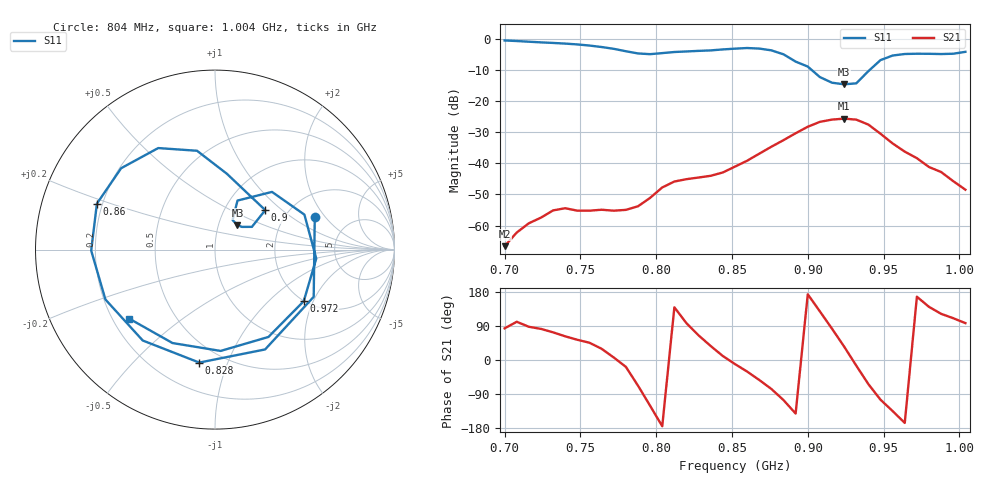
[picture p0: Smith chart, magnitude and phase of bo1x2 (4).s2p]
# Hz S RI R 50
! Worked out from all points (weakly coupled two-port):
!   39 points, 700 MHz to 1.004 GHz, reference 50 ohm
!   highest |S21| = -25.67 dB at 924 MHz (marker M1); lowest = -66.6 dB at 700 MHz (marker M2)
!   lowest |S11| = -14.7 dB at 924 MHz (marker M3), VSWR 1.45, Z = 61.6 + j17.4 ohm
!   |S11| at or under -10 dB: 902.4 MHz to 941 MHz (38.55 MHz wide, 4.18 % of centre)
!   S12 and S22 are empty: the file has one direction only
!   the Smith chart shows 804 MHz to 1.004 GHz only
!   S11 on the Smith chart (normalised r, x): 804 MHz: 2.85, +1.59; 828 MHz: 0.38, -0.80; 860 MHz: 0.18, +0.18; 900 MHz: 1.54, +0.78; 972 MHz: 1.99, -1.70; 1.004 GHz: 0.27, -0.33
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7e8  0.7481 0.5588  5.29e-05 0.000466  0 0  0 0
7.24e8  0.8374 -0.2357  0.000185 0.00133  0 0  0 0
7.4e8  0.4631 -0.6905  0.000879 0.00169  0 0  0 0
7.56e8  -0.1795 -0.7525  0.00122 0.00124  0 0  0 0
7.72e8  -0.6531 -0.2084  0.00173 0.000201  0 0  0 0
7.8e8  -0.59 0.2122  0.0017 -0.000556  0 0  0 0
7.88e8  -0.251 0.5206  0.000776 -0.00189  0 0  0 0
7.96e8  0.224 0.5165  -0.00143 -0.00239  0 0  0 0
8.04e8  0.5559 0.1835  -0.00408 -0.000374  0 0  0 0
8.12e8  0.5499 -0.2629  -0.00386 0.00334  0 0  0 0
8.28e8  -0.0877 -0.6294  0.00251 0.00536  0 0  0 0
8.52e8  -0.6897 -0.00554  0.0087 -0.00166  0 0  0 0
8.6e8  -0.658 0.256  0.00947 -0.00558  0 0  0 0
8.76e8  -0.3163 0.5657  0.00432 -0.0179  0 0  0 0
9e8  0.2801 0.2198  -0.0383 0.00441  0 0  0 0
9.08e8  0.2056 0.1267  -0.0286 0.0363  0 0  0 0
9.24e8  0.1252 0.136  0.0424 0.0302  0 0  0 0
9.4e8  0.1254 0.2732  0.0185 -0.0374  0 0  0 0
9.56e8  0.4983 0.1947  -0.0147 -0.0148  0 0  0 0
9.72e8  0.4946 -0.2873  -0.0118 0.00272  0 0  0 0
9.88e8  0.0313 -0.5645  -0.00382 0.00616  0 0  0 0
1.004e9  -0.478 -0.3846  -0.000476 0.00374  0 0  0 0
